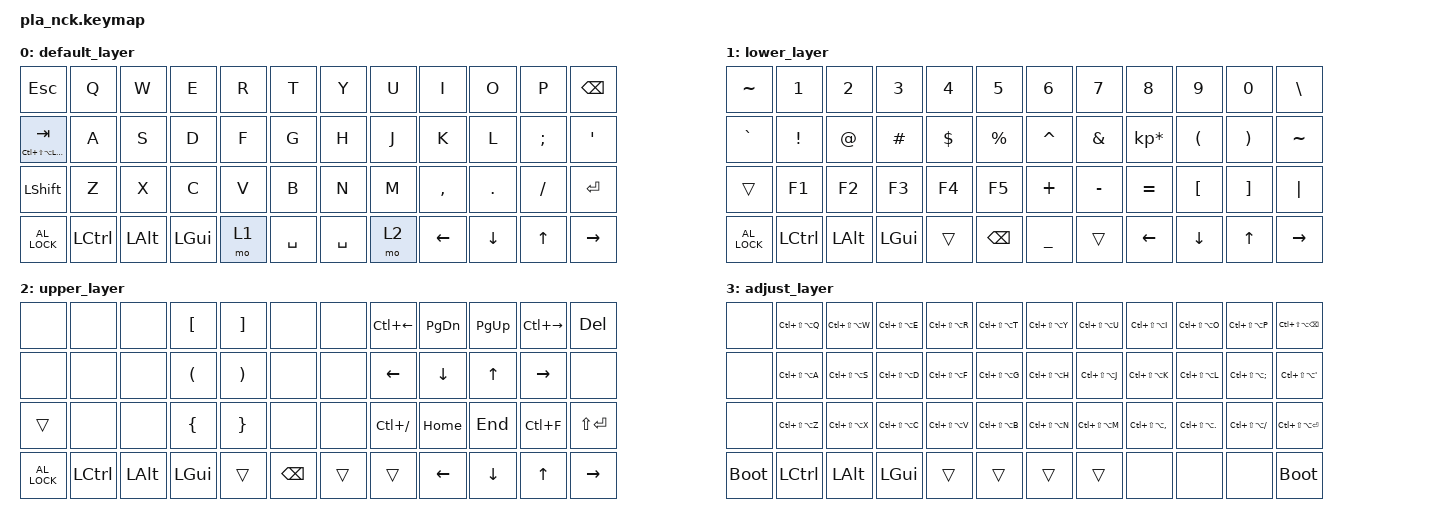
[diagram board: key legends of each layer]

#include <behaviors.dtsi>

#include <dt-bindings/zmk/bt.h>
#include <dt-bindings/zmk/ext_power.h>
#include <dt-bindings/zmk/keys.h>

#define MEH LC(LS(LALT))
#define HYPER LC(LS(LA(LGUI)))

&mt {
    tapping-term-ms = <200>;
    flavor = "tap-preferred";
};

#define MACRO(name, keys)                 \
name: name##_macro {                      \
    label          = #name;               \
    compatible     = "zmk,behavior-macro";\
    tap-ms         = <40>;                \
    wait-ms        = <40>;                \
    #binding-cells = <0>;                 \
    bindings       = <keys>;              \
};

/ {
    macros {
        MACRO(vim_q,  &kp COLON &kp Q &kp EXCL)
        MACRO(vim_s,  &kp COLON &kp X)
        MACRO(dir_up, &kp DOT &kp DOT &kp FSLH)
    };
};

/ {
    keymap {
        compatible = "zmk,keymap";

        default_layer {
            bindings = <
&kp ESC        &kp Q      &kp W     &kp E     &kp R  &kp T        &kp Y      &kp U  &kp I      &kp O     &kp P     &kp BSPC
&mt HYPER TAB  &kp A      &kp S     &kp D     &kp F  &kp G        &kp H      &kp J  &kp K      &kp L     &kp SEMI  &kp SQT
&kp LSHFT      &kp Z      &kp X     &kp C     &kp V  &kp B        &kp N      &kp M  &kp COMMA  &kp DOT   &kp FSLH  &kp RET
&kp C_AL_LOCK  &kp LCTRL  &kp LALT  &kp LGUI  &mo 1  &kp SPACE    &kp SPACE  &mo 2  &kp LEFT   &kp DOWN  &kp UP    &kp RIGHT
            >;
        };

        lower_layer {
            bindings = <
&kp TILDE      &kp N1     &kp N2    &kp N3    &kp N4      &kp N5       &kp N6     &kp N7     &kp N8           &kp N9    &kp N0    &kp BSLH
&kp GRAVE      &kp EXCL   &kp AT    &kp HASH  &kp DOLLAR  &kp PRCNT    &kp CARET  &kp AMPS   &kp KP_MULTIPLY  &kp LPAR  &kp RPAR  &kp TILDE
&trans         &kp F1     &kp F2    &kp F3    &kp F4      &kp F5       &kp PLUS   &kp MINUS  &kp EQUAL        &kp LBKT  &kp RBKT  &kp PIPE 
&kp C_AL_LOCK  &kp LCTRL  &kp LALT  &kp LGUI  &trans      &kp BSPC     &kp UNDER  &trans     &kp LEFT         &kp DOWN  &kp UP    &kp RIGHT
            >;
        };

        upper_layer {
            bindings = <
&none          &none      &none     &kp LBKT  &kp RBKT  &none       &none   &kp LC(LEFT)  &kp PG_DN  &kp PG_UP  &kp LC(RIGHT)  &kp DELETE
&none          &none      &none     &kp LPAR  &kp RPAR  &none       &none   &kp LEFT      &kp DOWN   &kp UP     &kp RIGHT      &none
&trans         &none      &none     &kp LBRC  &kp RBRC  &none       &none   &kp LC(FSLH)  &kp HOME   &kp END    &kp LC(F)      &kp LS(RET)
&kp C_AL_LOCK  &kp LCTRL  &kp LALT  &kp LGUI  &trans    &kp BSPC    &trans  &trans        &kp LEFT   &kp DOWN   &kp UP         &kp RIGHT
            >;
        };

        adjust_layer {
            bindings = <
&none        &kp LC(LS(LA(Q)))  &kp LC(LS(LA(W)))  &kp LC(LS(LA(E)))  &kp LC(LS(LA(R)))  &kp LC(LS(LA(T)))    &kp LC(LS(LA(Y)))  &kp LC(LS(LA(U)))  &kp LC(LS(LA(I)))      &kp LC(LS(LA(O)))    &kp LC(LS(LA(P)))     &kp LC(LS(LA(BSPC)))
&none        &kp LC(LS(LA(A)))  &kp LC(LS(LA(S)))  &kp LC(LS(LA(D)))  &kp LC(LS(LA(F)))  &kp LC(LS(LA(G)))    &kp LC(LS(LA(H)))  &kp LC(LS(LA(J)))  &kp LC(LS(LA(K)))      &kp LC(LS(LA(L)))    &kp LC(LS(LA(SEMI)))  &kp LC(LS(LA(SQT)))
&none        &kp LC(LS(LA(Z)))  &kp LC(LS(LA(X)))  &kp LC(LS(LA(C)))  &kp LC(LS(LA(V)))  &kp LC(LS(LA(B)))    &kp LC(LS(LA(N)))  &kp LC(LS(LA(M)))  &kp LC(LS(LA(COMMA)))  &kp LC(LS(LA(DOT)))  &kp LC(LS(LA(FSLH)))  &kp LC(LS(LA(RET)))
&bootloader  &kp LCTRL          &kp LALT           &kp LGUI           &trans             &trans               &trans             &trans             &none                  &none                &none                 &bootloader
            >;
        };
    };
};

/ {
    conditional_layers {
        compatible = "zmk,conditional-layers";
        tri_layer {
            if-layers = <1 2>;
            then-layer = <3>;
        };
    };
};
